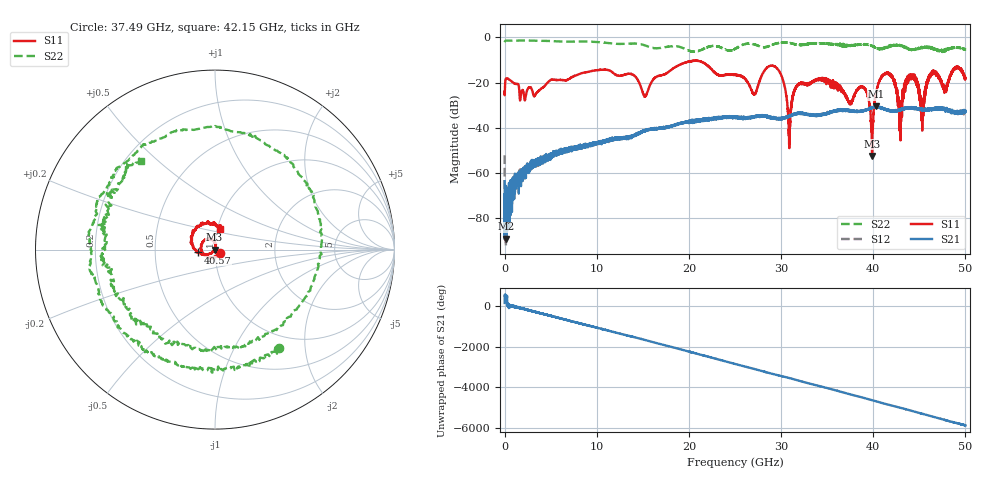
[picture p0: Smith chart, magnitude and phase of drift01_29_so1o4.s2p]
!Created with skrf (http://scikit-rf.org).
# Hz S RI R 50.0
!freq ReS11 ImS11 ReS21 ImS21 ReS12 ImS12 ReS22 ImS22
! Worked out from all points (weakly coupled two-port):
!   10001 points, 300 kHz to 50 GHz, reference 50 ohm
!   highest |S21| = -30.57 dB at 40.34 GHz (marker M1); lowest = -89.2 dB at 185.3 MHz (marker M2)
!   lowest |S11| = -52.6 dB at 39.88 GHz (marker M3), VSWR 1.00, Z = 49.8 + j0.0509 ohm
!   |S11| at or under -10 dB: start of sweep to end of sweep
!   |S22| runs from -6.5 to -1.4 dB; largest |S21 - S12| = 0.0038
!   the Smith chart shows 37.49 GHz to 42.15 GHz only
!   S11 on the Smith chart (normalised r, x): 37.49 GHz: 1.06, -0.04; 40.57 GHz: 0.83, -0.03; 42.15 GHz: 1.03, +0.25
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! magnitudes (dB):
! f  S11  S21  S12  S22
! 300 kHz  -24.0  -63.7  -52.2  -2.1
! 185.3 MHz  -18.1  -89.2  -73.4  -1.4
! 8.335 GHz  -15.9  -48.1  -48.4  -1.8
! 16.67 GHz  -17.1  -40.2  -40.3  -4.8
! 25 GHz  -16.6  -35.5  -35.4  -5.1
! 27.1 GHz  -25.4  -35.1  -35.1  -3.1
! 29.43 GHz  -13.2  -36.0  -36.0  -2.7
! 30.91 GHz  -43.8  -35.0  -35.0  -2.6
! 31.66 GHz  -21.9  -33.8  -33.9  -3.1
! 33.34 GHz  -19.8  -34.1  -34.3  -2.6
! 37.49 GHz  -29.3  -32.6  -32.7  -3.7
! 38.95 GHz  -22.0  -32.6  -32.5  -3.1
! 39.88 GHz  -52.6  -31.1  -31.2  -3.8
! 40.34 GHz  -24.3  -30.6  -30.8  -4.7
! 40.57 GHz  -20.3  -31.0  -31.0  -4.9
! 41.67 GHz  -16.1  -32.3  -32.4  -4.2
! 42.15 GHz  -18.3  -32.7  -32.7  -3.8
! 42.92 GHz  -35.7  -32.4  -32.0  -3.7
! 44.07 GHz  -17.2  -31.0  -31.1  -5.3
! 45.31 GHz  -37.9  -31.9  -32.0  -4.5
! 46.42 GHz  -15.4  -31.7  -31.7  -4.7
! 50 GHz  -17.9  -32.6  -33.0  -5.3
